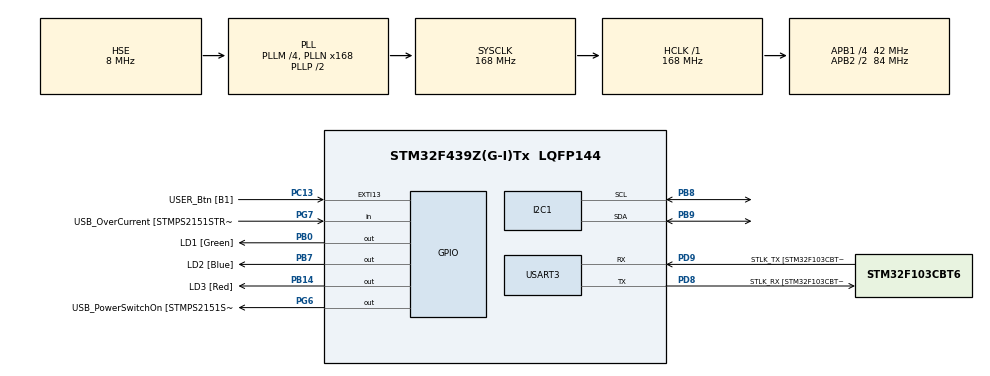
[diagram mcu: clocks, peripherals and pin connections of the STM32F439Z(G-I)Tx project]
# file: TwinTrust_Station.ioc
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Mcu.Family=STM32F4
Mcu.Name=STM32F439Z(G-I)Tx
Mcu.Package=LQFP144
NVIC.PriorityGroup=NVIC_PRIORITYGROUP_4
PA1.GPIO_Label=RMII_REF_CLK [LAN8742A-CZ-TR_REFCLK0]
PA1.Signal=ETH_REF_CLK
PA10.GPIO_Label=USB_ID
PA10.Signal=USB_OTG_FS_ID
PA11.GPIO_Label=USB_DM
PA11.Signal=USB_OTG_FS_DM
PA12.GPIO_Label=USB_DP
PA12.Signal=USB_OTG_FS_DP
PA13.GPIO_Label=TMS
PA13.Mode=Serial_Wire
PA13.Signal=SYS_JTMS-SWDIO
PA14.GPIO_Label=TCK
PA14.Mode=Serial_Wire
PA14.Signal=SYS_JTCK-SWCLK
PA2.GPIO_Label=RMII_MDIO [LAN8742A-CZ-TR_MDIO]
PA2.Signal=ETH_MDIO
PA7.GPIO_Label=RMII_CRS_DV [LAN8742A-CZ-TR_CRS_DV]
PA7.Signal=ETH_CRS_DV
PA8.GPIO_Label=USB_SOF [TP1]
PA8.Signal=USB_OTG_FS_SOF
PA9.GPIO_Label=USB_VBUS
PA9.Signal=USB_OTG_FS_VBUS
PB0.GPIO_Label=LD1 [Green]
PB0.Signal=GPIO_Output
PB13.GPIO_Label=RMII_TXD1 [LAN8742A-CZ-TR_TXD1]
PB13.Signal=ETH_TXD1
PB14.GPIO_Label=LD3 [Red]
PB14.Signal=GPIO_Output
PB7.GPIO_Label=LD2 [Blue]
PB7.Signal=GPIO_Output
PB8.Mode=I2C
PB8.Signal=I2C1_SCL
PB9.Mode=I2C
PB9.Signal=I2C1_SDA
PC1.GPIO_Label=RMII_MDC [LAN8742A-CZ-TR_MDC]
PC1.Signal=ETH_MDC
PC13.GPIO_Label=USER_Btn [B1]
PC13.Signal=GPXTI13
PC14/OSC32_IN.Signal=RCC_OSC32_IN
PC15/OSC32_OUT.Signal=RCC_OSC32_OUT
PC4.GPIO_Label=RMII_RXD0 [LAN8742A-CZ-TR_RXD0]
PC4.Signal=ETH_RXD0
PC5.GPIO_Label=RMII_RXD1 [LAN8742A-CZ-TR_RXD1]
PC5.Signal=ETH_RXD1
PD8.GPIO_Label=STLK_RX [STM32F103CBT6_PA3]
PD8.Mode=Asynchronous
PD8.Signal=USART3_TX
PD9.GPIO_Label=STLK_TX [STM32F103CBT6_PA2]
PD9.Mode=Asynchronous
PD9.Signal=USART3_RX
PG11.GPIO_Label=RMII_TX_EN [LAN8742A-CZ-TR_TXEN]
PG11.Signal=ETH_TX_EN
PG13.GPIO_Label=RMII_TXD0 [LAN8742A-CZ-TR_TXD0]
PG13.Signal=ETH_TXD0
PG6.GPIO_Label=USB_PowerSwitchOn [STMPS2151STR_EN]
PG6.Signal=GPIO_Output
PG7.GPIO_Label=USB_OverCurrent [STMPS2151STR_FAULT]
PG7.Signal=GPIO_Input
PH0/OSC_IN.GPIO_Label=MCO [STM32F103CBT6_PA8]
PH0/OSC_IN.Mode=HSE-External-Clock-Source
PH0/OSC_IN.Signal=RCC_OSC_IN
PH1/OSC_OUT.Mode=HSE-External-Clock-Source
PH1/OSC_OUT.Signal=RCC_OSC_OUT
ProjectManager.HeapSize=0x200
ProjectManager.StackSize=0x400
ProjectManager.TargetToolchain=STM32CubeIDE
RCC.48MHZClocksFreq_Value=48000000
RCC.AHBFreq_Value=168000000
RCC.APB1CLKDivider=RCC_HCLK_DIV4
RCC.APB1Freq_Value=42000000
RCC.APB1TimFreq_Value=84000000
RCC.APB2CLKDivider=RCC_HCLK_DIV2
RCC.APB2Freq_Value=84000000
RCC.APB2TimCLKDivider=2
RCC.APB2TimFreq_Value=168000000
RCC.CortexFreq_Value=168000000
RCC.HCLKFreq_Value=168000000
RCC.HSE_VALUE=8000000
RCC.HSI_VALUE=16000000
RCC.LSE_VALUE=32768
RCC.PLLM=4
RCC.PLLMUL=RCC_PLL_MUL9
RCC.PLLN=168
RCC.PLLQ=7
RCC.PLLSourceVirtual=RCC_PLLSOURCE_HSE
RCC.PRESCALERUSB=RCC_USBCLKSOURCE_PLL_DIV1_5
RCC.SYSCLKFreq_VALUE=168000000
RCC.SYSCLKSource=RCC_SYSCLKSOURCE_PLLCLK
RCC.SYSCLKSourceVirtual=RCC_SYSCLKSOURCE_PLLCLK
RCC.USBFreq_Value=48000000
RCC.VCOOutputFreq_Value=336000000
USART3.VirtualMode=VM_ASYNC
board=NUCLEO-F439ZI

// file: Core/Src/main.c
/* USER CODE BEGIN Header */
/**
  ******************************************************************************
  * @file    main.c
  * @brief   TwinTrust Station - BME280 I2C reset diagnostics
  ******************************************************************************
  */
/* USER CODE END Header */

#include "main.h"

/* USER CODE BEGIN Includes */
#include <stdio.h>
#include <string.h>
/* USER CODE END Includes */

/* USER CODE BEGIN PD */
#define BME280_CHIP_ID_REG       0xD0U
#define BME280_EXPECTED_CHIP_ID  0x60U
/* USER CODE END PD */

I2C_HandleTypeDef hi2c1;
UART_HandleTypeDef huart3;

void SystemClock_Config(void);
static void MX_GPIO_Init(void);
static void MX_USART3_UART_Init(void);
static void MX_I2C1_Init(void);

/* USER CODE BEGIN PFP */
static void UART_Print(const char *message);
static void Print_I2C_Status(void);
static void Reset_I2C1(void);
static void BME280_DetectionTest(void);
/* USER CODE END PFP */

/* USER CODE BEGIN 0 */

static void UART_Print(const char *message)
{
    HAL_UART_Transmit(
        &huart3,
        (uint8_t *)message,
        (uint16_t)strlen(message),
        500U
    );
}

static void Print_I2C_Status(void)
{
    char message[180];

    uint32_t sr1 = I2C1->SR1;
    uint32_t sr2 = I2C1->SR2;
    uint32_t cr1 = I2C1->CR1;

    snprintf(
        message,
        sizeof(message),
        "SCL=%u SDA=%u BUSY=%u HALstate=0x%02lX\r\n"
        "SR1=0x%08lX SR2=0x%08lX CR1=0x%08lX\r\n",
        (unsigned int)HAL_GPIO_ReadPin(GPIOB, GPIO_PIN_8),
        (unsigned int)HAL_GPIO_ReadPin(GPIOB, GPIO_PIN_9),
        (unsigned int)((sr2 & I2C_SR2_BUSY) != 0U),
        (unsigned long)HAL_I2C_GetState(&hi2c1),
        (unsigned long)sr1,
        (unsigned long)sr2,
        (unsigned long)cr1
    );

    UART_Print(message);
}

static void Reset_I2C1(void)
{
    if (HAL_I2C_DeInit(&hi2c1) != HAL_OK)
    {
        Error_Handler();
    }

    __HAL_RCC_I2C1_FORCE_RESET();
    HAL_Delay(1U);
    __HAL_RCC_I2C1_RELEASE_RESET();

    MX_I2C1_Init();

    HAL_Delay(10U);
}

static void BME280_DetectionTest(void)
{
    const uint8_t addresses[] = {0x76U, 0x77U};

    char message[180];
    uint8_t found = 0U;

    for (uint32_t i = 0U;
         i < (sizeof(addresses) / sizeof(addresses[0]));
         i++)
    {
        uint8_t address = addresses[i];
        uint16_t hal_address = (uint16_t)(address << 1U);
        uint8_t chip_id = 0U;

        HAL_StatusTypeDef status = HAL_I2C_IsDeviceReady(
            &hi2c1,
            hal_address,
            2U,
            100U
        );

        if (status != HAL_OK)
        {
            snprintf(
                message,
                sizeof(message),
                "Address 0x%02X: not ready; "
                "status=%u, error=0x%08lX\r\n",
                (unsigned int)address,
                (unsigned int)status,
                (unsigned long)HAL_I2C_GetError(&hi2c1)
            );

            UART_Print(message);

            UART_Print("Controller status after failed attempt:\r\n");
            Print_I2C_Status();

            continue;
        }

        status = HAL_I2C_Mem_Read(
            &hi2c1,
            hal_address,
            BME280_CHIP_ID_REG,
            I2C_MEMADD_SIZE_8BIT,
            &chip_id,
            1U,
            100U
        );

        if (status != HAL_OK)
        {
            snprintf(
                message,
                sizeof(message),
                "Address 0x%02X responds, but chip ID read failed; "
                "status=%u, error=0x%08lX\r\n",
                (unsigned int)address,
                (unsigned int)status,
                (unsigned long)HAL_I2C_GetError(&hi2c1)
            );

            UART_Print(message);
            Print_I2C_Status();

            continue;
        }

        if (chip_id == BME280_EXPECTED_CHIP_ID)
        {
            found = 1U;

            snprintf(
                message,
                sizeof(message),
                "BME280 FOUND: address=0x%02X, chip ID=0x%02X\r\n",
                (unsigned int)address,
                (unsigned int)chip_id
            );
        }
        else
        {
            snprintf(
                message,
                sizeof(message),
                "Address 0x%02X: chip ID=0x%02X; "
                "expected BME280 ID=0x60\r\n",
                (unsigned int)address,
                (unsigned int)chip_id
            );
        }

        UART_Print(message);
    }

    if (found == 0U)
    {
        UART_Print("BME280 has not been confirmed.\r\n");
    }

    UART_Print("----------------------------------------\r\n");
}

/* USER CODE END 0 */

int main(void)
{
    HAL_Init();

    SystemClock_Config();

    MX_GPIO_Init();
    MX_USART3_UART_Init();
    MX_I2C1_Init();

    /* USER CODE BEGIN 2 */
    HAL_Delay(100U);

    UART_Print("\r\n");
    UART_Print("TwinTrust Station: I2C RESET diagnostics\r\n");
    UART_Print("Configured pins: PB8=SCL, PB9=SDA\r\n");
    UART_Print("Pin levels: 1=HIGH, 0=LOW\r\n");
    UART_Print("----------------------------------------\r\n");
    /* USER CODE END 2 */

    /* USER CODE BEGIN WHILE */
    while (1)
    {
        HAL_GPIO_TogglePin(GPIOB, GPIO_PIN_0);

        Reset_I2C1();

        UART_Print("Controller status after reset:\r\n");
        Print_I2C_Status();

        BME280_DetectionTest();

        HAL_Delay(2000U);
    }
    /* USER CODE END WHILE */
}

void SystemClock_Config(void)
{
    RCC_OscInitTypeDef RCC_OscInitStruct = {0};
    RCC_ClkInitTypeDef RCC_ClkInitStruct = {0};

    __HAL_RCC_PWR_CLK_ENABLE();

    __HAL_PWR_VOLTAGESCALING_CONFIG(
        PWR_REGULATOR_VOLTAGE_SCALE1
    );

    RCC_OscInitStruct.OscillatorType = RCC_OSCILLATORTYPE_HSE;
    RCC_OscInitStruct.HSEState = RCC_HSE_BYPASS;

    RCC_OscInitStruct.PLL.PLLState = RCC_PLL_ON;
    RCC_OscInitStruct.PLL.PLLSource = RCC_PLLSOURCE_HSE;
    RCC_OscInitStruct.PLL.PLLM = 4;
    RCC_OscInitStruct.PLL.PLLN = 168;
    RCC_OscInitStruct.PLL.PLLP = RCC_PLLP_DIV2;
    RCC_OscInitStruct.PLL.PLLQ = 7;

    if (HAL_RCC_OscConfig(&RCC_OscInitStruct) != HAL_OK)
    {
        Error_Handler();
    }

    RCC_ClkInitStruct.ClockType =
        RCC_CLOCKTYPE_HCLK |
        RCC_CLOCKTYPE_SYSCLK |
        RCC_CLOCKTYPE_PCLK1 |
        RCC_CLOCKTYPE_PCLK2;

    RCC_ClkInitStruct.SYSCLKSource = RCC_SYSCLKSOURCE_PLLCLK;
    RCC_ClkInitStruct.AHBCLKDivider = RCC_SYSCLK_DIV1;
    RCC_ClkInitStruct.APB1CLKDivider = RCC_HCLK_DIV4;
    RCC_ClkInitStruct.APB2CLKDivider = RCC_HCLK_DIV2;

    if (HAL_RCC_ClockConfig(
            &RCC_ClkInitStruct,
            FLASH_LATENCY_5
        ) != HAL_OK)
    {
        Error_Handler();
    }
}

static void MX_I2C1_Init(void)
{
    hi2c1.Instance = I2C1;

    hi2c1.Init.ClockSpeed = 100000;
    hi2c1.Init.DutyCycle = I2C_DUTYCYCLE_2;
    hi2c1.Init.OwnAddress1 = 0;
    hi2c1.Init.AddressingMode = I2C_ADDRESSINGMODE_7BIT;
    hi2c1.Init.DualAddressMode = I2C_DUALADDRESS_DISABLE;
    hi2c1.Init.OwnAddress2 = 0;
    hi2c1.Init.GeneralCallMode = I2C_GENERALCALL_DISABLE;
    hi2c1.Init.NoStretchMode = I2C_NOSTRETCH_DISABLE;

    if (HAL_I2C_Init(&hi2c1) != HAL_OK)
    {
        Error_Handler();
    }

    if (HAL_I2CEx_ConfigAnalogFilter(
            &hi2c1,
            I2C_ANALOGFILTER_ENABLE
        ) != HAL_OK)
    {
        Error_Handler();
    }

    if (HAL_I2CEx_ConfigDigitalFilter(&hi2c1, 0) != HAL_OK)
    {
        Error_Handler();
    }
}

static void MX_USART3_UART_Init(void)
{
    huart3.Instance = USART3;

    huart3.Init.BaudRate = 115200;
    huart3.Init.WordLength = UART_WORDLENGTH_8B;
    huart3.Init.StopBits = UART_STOPBITS_1;
    huart3.Init.Parity = UART_PARITY_NONE;
    huart3.Init.Mode = UART_MODE_TX_RX;
    huart3.Init.HwFlowCtl = UART_HWCONTROL_NONE;
    huart3.Init.OverSampling = UART_OVERSAMPLING_16;

    if (HAL_UART_Init(&huart3) != HAL_OK)
    {
        Error_Handler();
    }
}

static void MX_GPIO_Init(void)
{
    GPIO_InitTypeDef GPIO_InitStruct = {0};

    __HAL_RCC_GPIOC_CLK_ENABLE();
    __HAL_RCC_GPIOH_CLK_ENABLE();
    __HAL_RCC_GPIOA_CLK_ENABLE();
    __HAL_RCC_GPIOB_CLK_ENABLE();
    __HAL_RCC_GPIOD_CLK_ENABLE();
    __HAL_RCC_GPIOG_CLK_ENABLE();

    /*
     * NUCLEO-F439ZI LEDs:
     * PB0  = green
     * PB7  = blue
     * PB14 = red
     */
    HAL_GPIO_WritePin(
        GPIOB,
        GPIO_PIN_0 | GPIO_PIN_7 | GPIO_PIN_14,
        GPIO_PIN_RESET
    );

    GPIO_InitStruct.Pin =
        GPIO_PIN_0 | GPIO_PIN_7 | GPIO_PIN_14;

    GPIO_InitStruct.Mode = GPIO_MODE_OUTPUT_PP;
    GPIO_InitStruct.Pull = GPIO_NOPULL;
    GPIO_InitStruct.Speed = GPIO_SPEED_FREQ_LOW;

    HAL_GPIO_Init(GPIOB, &GPIO_InitStruct);

    /*
     * PB8/PB9 I2C configuration and PD8/PD9 UART configuration
     * are provided by the existing stm32f4xx_hal_msp.c file.
     */
}

void Error_Handler(void)
{
    __disable_irq();
    while (1)
    {
    }
}

#ifdef USE_FULL_ASSERT
void assert_failed(uint8_t *file, uint32_t line)
{
    /* USER CODE BEGIN 6 */
    (void)file;
    (void)line;
    /* USER CODE END 6 */
}
#endif
